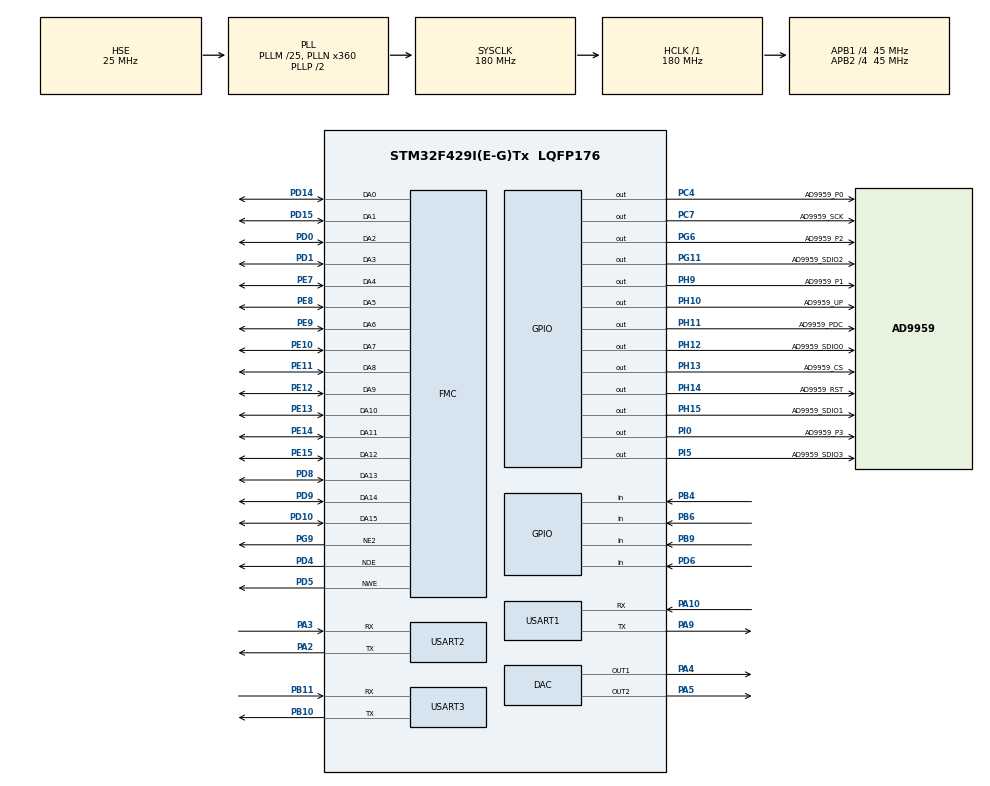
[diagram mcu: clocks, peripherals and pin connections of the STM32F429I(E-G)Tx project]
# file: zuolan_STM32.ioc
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DAC.DAC_OutputBuffer=DAC_OUTPUTBUFFER_ENABLE
DAC.DAC_OutputBuffer2=DAC_OUTPUTBUFFER_ENABLE
FMC.AddressHoldTime2=1
FMC.AddressSetupTime2=3
FMC.BusTurnAroundDuration2=0
FMC.DataSetupTime2=6
FMC.WriteOperation2=FMC_WRITE_OPERATION_ENABLE
Mcu.Family=STM32F4
Mcu.Name=STM32F429I(E-G)Tx
Mcu.Package=LQFP176
NVIC.PriorityGroup=NVIC_PRIORITYGROUP_4
NVIC.USART1_IRQn=true\:0\:0\:false\:false\:true\:true\:true
NVIC.USART2_IRQn=true\:0\:0\:false\:false\:true\:true\:true
NVIC.USART3_IRQn=true\:0\:0\:false\:false\:true\:true\:true
PA10.Mode=Asynchronous
PA10.Signal=USART1_RX
PA13.Mode=Serial_Wire
PA13.Signal=SYS_JTMS-SWDIO
PA14.Mode=Serial_Wire
PA14.Signal=SYS_JTCK-SWCLK
PA2.Mode=Asynchronous
PA2.Signal=USART2_TX
PA3.Mode=Asynchronous
PA3.Signal=USART2_RX
PA4.Signal=COMP_DAC1_group
PA5.Signal=COMP_DAC2_group
PA9.Mode=Asynchronous
PA9.Signal=USART1_TX
PB10.Mode=Asynchronous
PB10.Signal=USART3_TX
PB11.Mode=Asynchronous
PB11.Signal=USART3_RX
PB4.GPIO_PuPd=GPIO_PULLUP
PB4.Signal=GPIO_Input
PB6.GPIO_PuPd=GPIO_PULLUP
PB6.Signal=GPIO_Input
PB7.Signal=FMC_NL
PB9.GPIO_PuPd=GPIO_PULLUP
PB9.Signal=GPIO_Input
PC4.GPIO_Label=AD9959_P0
PC4.GPIO_PuPd=GPIO_PULLUP
PC4.GPIO_Speed=GPIO_SPEED_FREQ_HIGH
PC4.Signal=GPIO_Output
PC7.GPIO_Label=AD9959_SCK
PC7.GPIO_PuPd=GPIO_PULLUP
PC7.GPIO_Speed=GPIO_SPEED_FREQ_HIGH
PC7.Signal=GPIO_Output
PD0.Signal=FMC_D2_DA2
PD1.Signal=FMC_D3_DA3
PD10.Signal=FMC_D15_DA15
PD14.Signal=FMC_D0_DA0
PD15.Signal=FMC_D1_DA1
PD4.Signal=FMC_NOE
PD5.Signal=FMC_NWE
PD6.GPIO_PuPd=GPIO_PULLUP
PD6.Signal=GPIO_Input
PD8.Signal=FMC_D13_DA13
PD9.Signal=FMC_D14_DA14
PE10.Signal=FMC_D7_DA7
PE11.Signal=FMC_D8_DA8
PE12.Signal=FMC_D9_DA9
PE13.Signal=FMC_D10_DA10
PE14.Signal=FMC_D11_DA11
PE15.Signal=FMC_D12_DA12
PE7.Signal=FMC_D4_DA4
PE8.Signal=FMC_D5_DA5
PE9.Signal=FMC_D6_DA6
PG11.GPIO_Label=AD9959_SDIO2
PG11.GPIO_PuPd=GPIO_PULLUP
PG11.GPIO_Speed=GPIO_SPEED_FREQ_HIGH
PG11.Signal=GPIO_Output
PG6.GPIO_Label=AD9959_P2
PG6.GPIO_PuPd=GPIO_PULLUP
PG6.GPIO_Speed=GPIO_SPEED_FREQ_HIGH
PG6.Signal=GPIO_Output
PG9.Mode=NorPsramChipSelect2_2
PG9.Signal=FMC_NE2
PH0/OSC_IN.Mode=HSE-External-Oscillator
PH0/OSC_IN.Signal=RCC_OSC_IN
PH1/OSC_OUT.Mode=HSE-External-Oscillator
PH1/OSC_OUT.Signal=RCC_OSC_OUT
PH10.GPIO_Label=AD9959_UP
PH10.GPIO_PuPd=GPIO_PULLUP
PH10.GPIO_Speed=GPIO_SPEED_FREQ_HIGH
PH10.Signal=GPIO_Output
PH11.GPIO_Label=AD9959_PDC
PH11.GPIO_PuPd=GPIO_PULLUP
PH11.GPIO_Speed=GPIO_SPEED_FREQ_HIGH
PH11.Signal=GPIO_Output
PH12.GPIO_Label=AD9959_SDIO0
PH12.GPIO_PuPd=GPIO_PULLUP
PH12.GPIO_Speed=GPIO_SPEED_FREQ_HIGH
PH12.Signal=GPIO_Output
PH13.GPIO_Label=AD9959_CS
PH13.GPIO_ModeDefaultOutputPP=GPIO_MODE_OUTPUT_PP
PH13.GPIO_PuPd=GPIO_PULLUP
PH13.GPIO_Speed=GPIO_SPEED_FREQ_HIGH
PH13.PinState=GPIO_PIN_RESET
PH13.Signal=GPIO_Output
PH14.GPIO_Label=AD9959_RST
PH14.GPIO_PuPd=GPIO_PULLUP
PH14.GPIO_Speed=GPIO_SPEED_FREQ_HIGH
PH14.Signal=GPIO_Output
PH15.GPIO_Label=AD9959_SDIO1
PH15.GPIO_PuPd=GPIO_PULLUP
PH15.GPIO_Speed=GPIO_SPEED_FREQ_HIGH
PH15.Signal=GPIO_Output
PH9.GPIO_Label=AD9959_P1
PH9.GPIO_PuPd=GPIO_PULLUP
PH9.GPIO_Speed=GPIO_SPEED_FREQ_HIGH
PH9.Signal=GPIO_Output
PI0.GPIO_Label=AD9959_P3
PI0.GPIO_PuPd=GPIO_PULLUP
PI0.GPIO_Speed=GPIO_SPEED_FREQ_HIGH
PI0.Signal=GPIO_Output
PI5.GPIO_Label=AD9959_SDIO3
PI5.GPIO_PuPd=GPIO_PULLUP
PI5.GPIO_Speed=GPIO_SPEED_FREQ_HIGH
PI5.Signal=GPIO_Output
ProjectManager.HeapSize=0x200
ProjectManager.StackSize=0x400
ProjectManager.TargetToolchain=MDK-ARM V5
RCC.48MHZClocksFreq_Value=90000000
RCC.AHBFreq_Value=180000000
RCC.APB1CLKDivider=RCC_HCLK_DIV4
RCC.APB1Freq_Value=45000000
RCC.APB1TimFreq_Value=90000000
RCC.APB2CLKDivider=RCC_HCLK_DIV4
RCC.APB2Freq_Value=45000000
RCC.APB2TimFreq_Value=90000000
RCC.CortexFreq_Value=180000000
RCC.EnbaleCSS=true
RCC.HCLKFreq_Value=180000000
RCC.HSE_VALUE=25000000
RCC.HSI_VALUE=16000000
RCC.LSE_VALUE=32768
RCC.PLLM=25
RCC.PLLN=360
RCC.PLLSourceVirtual=RCC_PLLSOURCE_HSE
RCC.SYSCLKFreq_VALUE=180000000
RCC.SYSCLKSource=RCC_SYSCLKSOURCE_PLLCLK
RCC.VCOOutputFreq_Value=360000000
SH.COMP_DAC1_group.0=DAC_OUT1,DAC_OUT1
SH.COMP_DAC2_group.0=DAC_OUT2,DAC_OUT2
SH.FMC_D0_DA0.0=FMC_DA0,16b-da2
SH.FMC_D10_DA10.0=FMC_DA10,16b-da2
SH.FMC_D11_DA11.0=FMC_DA11,16b-da2
SH.FMC_D12_DA12.0=FMC_DA12,16b-da2
SH.FMC_D13_DA13.0=FMC_DA13,16b-da2
SH.FMC_D14_DA14.0=FMC_DA14,16b-da2
SH.FMC_D15_DA15.0=FMC_DA15,16b-da2
SH.FMC_D1_DA1.0=FMC_DA1,16b-da2
SH.FMC_D2_DA2.0=FMC_DA2,16b-da2
SH.FMC_D3_DA3.0=FMC_DA3,16b-da2
SH.FMC_D4_DA4.0=FMC_DA4,16b-da2
SH.FMC_D5_DA5.0=FMC_DA5,16b-da2
SH.FMC_D6_DA6.0=FMC_DA6,16b-da2
SH.FMC_D7_DA7.0=FMC_DA7,16b-da2
SH.FMC_D8_DA8.0=FMC_DA8,16b-da2
SH.FMC_D9_DA9.0=FMC_DA9,16b-da2
SH.FMC_NL.0=FMC_NL
SH.FMC_NOE.0=FMC_NOE,MuxedPsram2
SH.FMC_NWE.0=FMC_NWE,MuxedPsram2
USART1.VirtualMode=VM_ASYNC
USART2.VirtualMode=VM_ASYNC
USART3.VirtualMode=VM_ASYNC
board=custom

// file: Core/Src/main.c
/* USER CODE BEGIN Header */
/**
 ******************************************************************************
 * @file           : main.c
 * @brief          : Main program body
 ******************************************************************************
 * @attention
 *
 * Copyright (c) 2024 STMicroelectronics.
 * All rights reserved.
 *
 * This software is licensed under terms that can be found in the LICENSE file
 * in the root directory of this software component.
 * If no LICENSE file comes with this software, it is provided AS-IS.
 *
 ******************************************************************************
 */
/* USER CODE END Header */
#include "main.h"
#include "dac.h"
#include "usart.h"
#include "gpio.h"
#include "fmc.h"

/* USER CODE BEGIN Includes */

#include "bsp_system.h"
/* USER CODE END Includes */

void SystemClock_Config(void);

int main(void)
{
  /* USER CODE BEGIN 1 */
  uint16_t ASK_amp_ch2[16] = {0, 0, 0, 0, 0, 0, 0, 0, 0, 0, 0, 0, 0, 0, 0, 0};
  /* USER CODE END 1 */

  /* MCU Configuration--------------------------------------------------------*/

  /* Reset of all peripherals, Initializes the Flash interface and the Systick. */
  HAL_Init();

  /* Configure the system clock */
  SystemClock_Config();

  /* Initialize all configured peripherals */
  MX_GPIO_Init();
  MX_FMC_Init();
  MX_USART1_UART_Init();
  MX_USART2_UART_Init();
  MX_USART3_UART_Init();
  MX_DAC_Init();
  /* USER CODE BEGIN 2 */
  HAL_UART_Receive_IT(&huart1, &rxTemp1, 1);
  HAL_UART_Receive_IT(&huart2, &rxTemp2, 1);
  HAL_UART_Receive_IT(&huart3, &rxTemp3, 1);
  CTRL_INIT();
  DA_Init();
  DA_Apply_Settings();
  PID_Init();
  fft_init();

  /* --- AD9959 ???????? --- */

  // 1. ???AD9959?? (??, ??PLL?????????)
  AD9959_Init();

  // 2. ?????2?????:???2??(LEVEL_MOD_2), ASK??(MOD_ASK)
  //    ??: ???????????,????? SWEEP_DISABLE
  AD9959_Modulation_Init(CH2_SELECT, LEVEL_MOD_2, MOD_ASK);

  // 3. ??ASK????????
  //    ?Profile??(P2)?????,??????,????'0'
  ASK_amp_ch2[0] = 0;
  //    ?Profile??(P2)?????,???Profile 0,?????,????'1'
  ASK_amp_ch2[1] = 1023; // ??????1023????????

  // 4. ??ASK??:???2??1000Hz???,??????????
  //    ??:????????? (??, ??, ????)
  //    ??????? ASK_amp_ch2[0] ??????, ASK_amp_ch2[1] ??Profile 0????
  AD9959_Set_ASK(CH2_SELECT, 1000, ASK_amp_ch2);

  //AD9833_Setup(AD9833_REG_FREQ0, 30000.0, AD9833_REG_PHASE1, 1024, AD9833_OUT_TRIANGLE);
  //AD9833_Setup2(AD9833_REG_FREQ0, 30000.0, AD9833_REG_PHASE1, 2048, AD9833_OUT_TRIANGLE);
  my_printf(&huart3, "\r\n LINK START!\r\n");

  scheduler_init();
  /* USER CODE END 2 */

  /* Infinite loop */
  while (1)
  {

    /* USER CODE BEGIN 3 */

    scheduler_run();
  }
  /* USER CODE END 3 */
}

void SystemClock_Config(void)
{
  RCC_OscInitTypeDef RCC_OscInitStruct = {0};
  RCC_ClkInitTypeDef RCC_ClkInitStruct = {0};

  /** Configure the main internal regulator output voltage
   */
  __HAL_RCC_PWR_CLK_ENABLE();
  __HAL_PWR_VOLTAGESCALING_CONFIG(PWR_REGULATOR_VOLTAGE_SCALE1);
  /** Initializes the RCC Oscillators according to the specified parameters
   * in the RCC_OscInitTypeDef structure.
   */
  RCC_OscInitStruct.OscillatorType = RCC_OSCILLATORTYPE_HSE;
  RCC_OscInitStruct.HSEState = RCC_HSE_ON;
  RCC_OscInitStruct.PLL.PLLState = RCC_PLL_ON;
  RCC_OscInitStruct.PLL.PLLSource = RCC_PLLSOURCE_HSE;
  RCC_OscInitStruct.PLL.PLLM = 25;
  RCC_OscInitStruct.PLL.PLLN = 360;
  RCC_OscInitStruct.PLL.PLLP = RCC_PLLP_DIV2;
  RCC_OscInitStruct.PLL.PLLQ = 4;
  if (HAL_RCC_OscConfig(&RCC_OscInitStruct) != HAL_OK)
  {
    Error_Handler();
  }
  /** Activate the Over-Drive mode
   */
  if (HAL_PWREx_EnableOverDrive() != HAL_OK)
  {
    Error_Handler();
  }
  /** Initializes the CPU, AHB and APB buses clocks
   */
  RCC_ClkInitStruct.ClockType = RCC_CLOCKTYPE_HCLK | RCC_CLOCKTYPE_SYSCLK | RCC_CLOCKTYPE_PCLK1 | RCC_CLOCKTYPE_PCLK2;
  RCC_ClkInitStruct.SYSCLKSource = RCC_SYSCLKSOURCE_PLLCLK;
  RCC_ClkInitStruct.AHBCLKDivider = RCC_SYSCLK_DIV1;
  RCC_ClkInitStruct.APB1CLKDivider = RCC_HCLK_DIV4;
  RCC_ClkInitStruct.APB2CLKDivider = RCC_HCLK_DIV4;

  if (HAL_RCC_ClockConfig(&RCC_ClkInitStruct, FLASH_LATENCY_5) != HAL_OK)
  {
    Error_Handler();
  }
  /** Enables the Clock Security System
   */
  HAL_RCC_EnableCSS();
}

void Error_Handler(void)
{
  __disable_irq();
  while (1)
  {
  }
}

/************************ (C) COPYRIGHT STMicroelectronics *****END OF FILE****/
